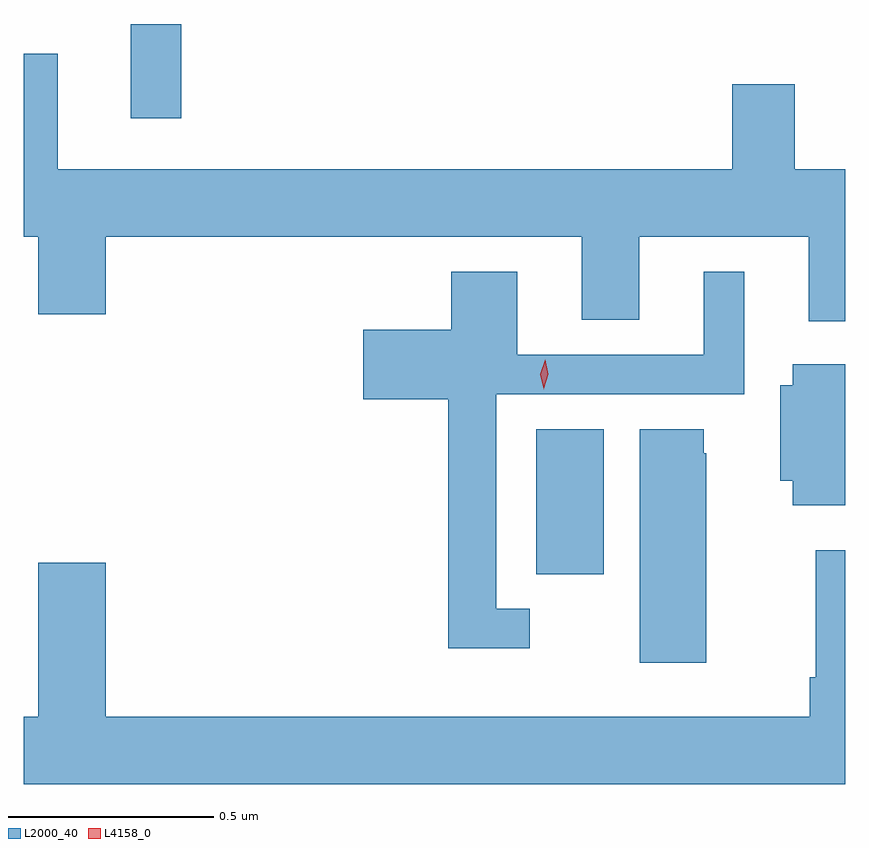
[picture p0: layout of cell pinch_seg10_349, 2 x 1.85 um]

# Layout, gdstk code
import gdstk
lib = gdstk.Library(unit=1e-6, precision=1e-09)
def R(c, l, rs):  # rectangles x0, y0, x1, y1
    for r in rs: c.add(gdstk.rectangle(r[:2], r[2:], *l))
def P(c, l, *ps):  # polygons
    for p in ps: c.add(gdstk.Polygon(p, *l))
L2000_40 = (2000, 40)
L4158_0 = (4158, 0)

pinch_seg10_349 = lib.new_cell('pinch_seg10_349')
R(pinch_seg10_349, L2000_40, [(405.98,1287.507,406.144,1287.86), (404.993,1288.617,405.115,1288.846)])
P(pinch_seg10_349, L2000_40, [(406.732,1288.492),(406.609,1288.492),(406.609,1288.699),(406.457,1288.699),(406.457,1288.492),(404.815,1288.492),(404.815,1288.774),(404.732,1288.774),(404.732,1288.328),(404.768,1288.328),(404.768,1288.14),(404.932,1288.14),(404.932,1288.328),(406.091,1288.328),(406.091,1288.126),(406.231,1288.126),(406.231,1288.328),(406.643,1288.328),(406.643,1288.122),(406.732,1288.122)],
  [(405.964,1287.423),(405.882,1287.423),(405.882,1287.945),(406.486,1287.945),(406.486,1288.243),(406.388,1288.243),(406.388,1288.041),(405.934,1288.041),(405.934,1288.243),(405.773,1288.243),(405.773,1288.102),(405.558,1288.102),(405.558,1287.932),(405.766,1287.932),(405.766,1287.326),(405.964,1287.326)],
  [(406.732,1288.018),(406.604,1288.018),(406.604,1287.967),(406.574,1287.967),(406.574,1287.734),(406.604,1287.734),(406.604,1287.674),(406.732,1287.674)],
  [(406.393,1287.801),(406.387,1287.801),(406.387,1287.86),(406.232,1287.86),(406.232,1287.291),(406.393,1287.291)],
  [(406.732,1287.565),(406.66,1287.565),(406.66,1287.256),(406.645,1287.256),(406.645,1287.16),(404.932,1287.16),(404.932,1287.535),(404.768,1287.535),(404.768,1287.16),(404.732,1287.16),(404.732,1286.996),(406.732,1286.996)])
P(pinch_seg10_349, L4158_0, [(405.998,1287.957),(405.998,1287.958),(405.99,1287.994),(406.001,1288.029),(406.001,1288.029),(406.001,1288.029),(406.009,1287.993),(405.998,1287.958)])

lib.write_gds('pinch_seg10_349.gds')
